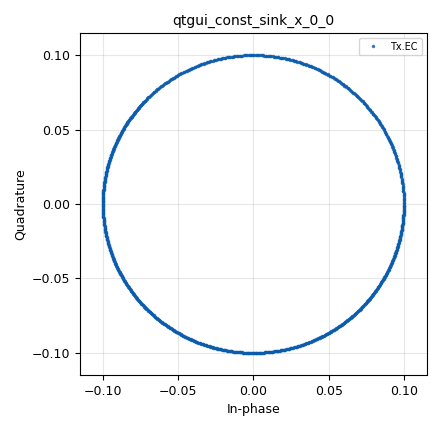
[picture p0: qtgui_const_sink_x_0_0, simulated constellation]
<?xml version='1.0' encoding='utf-8'?>
<?grc format='1' created='3.7.9'?>
<flow_graph>
<block>
<key>options</key>
<param><key>id</key><value>top_block</value></param>
<param><key>category</key><value>Custom</value></param>
<param><key>generate_options</key><value>qt_gui</value></param>
</block>
<block>
<key>variable_qtgui_range</key>
<param><key>id</key><value>Am</value></param>
<param><key>value</key><value>0.1</value></param>
<param><key>gui_hint</key><value>0,3</value></param>
<param><key>label</key><value>Am</value></param>
<param><key>orient</key><value>Qt.Horizontal</value></param>
<param><key>start</key><value>Amensaje_min</value></param>
<param><key>step</key><value>(Amensaje_max-Amensaje_min)/10000.</value></param>
<param><key>stop</key><value>Amensaje_max</value></param>
</block>
<block>
<key>variable</key>
<param><key>id</key><value>Amensaje_max</value></param>
<param><key>value</key><value>1.5</value></param>
</block>
<block>
<key>variable</key>
<param><key>id</key><value>Amensaje_min</value></param>
<param><key>value</key><value>0.</value></param>
</block>
<block>
<key>variable</key>
<param><key>id</key><value>B</value></param>
<param><key>value</key><value>samp_rate</value></param>
</block>
<block>
<key>variable</key>
<param><key>id</key><value>B_d</value></param>
<param><key>value</key><value>200e3</value></param>
</block>
<block>
<key>variable_qtgui_range</key>
<param><key>id</key><value>Fc</value></param>
<param><key>value</key><value>99.7e6</value></param>
<param><key>gui_hint</key><value>0,0</value></param>
<param><key>label</key><value>Fc</value></param>
<param><key>orient</key><value>Qt.Horizontal</value></param>
<param><key>start</key><value>Fc_min</value></param>
<param><key>step</key><value>(Fc_max-Fc_min)/100000.</value></param>
<param><key>stop</key><value>Fc_max</value></param>
</block>
<block>
<key>variable</key>
<param><key>id</key><value>Fc_max</value></param>
<param><key>value</key><value>2.4e9</value></param>
</block>
<block>
<key>variable</key>
<param><key>id</key><value>Fc_min</value></param>
<param><key>value</key><value>50e6</value></param>
</block>
<block>
<key>variable_qtgui_range</key>
<param><key>id</key><value>Gain_rx</value></param>
<param><key>value</key><value>0.</value></param>
<param><key>gui_hint</key><value>0,1</value></param>
<param><key>label</key><value>Gain_rx</value></param>
<param><key>orient</key><value>Qt.Horizontal</value></param>
<param><key>start</key><value>Gain_rx_min</value></param>
<param><key>step</key><value>(Gain_rx_max-Gain_rx_min)/100.</value></param>
<param><key>stop</key><value>Gain_rx_max</value></param>
</block>
<block>
<key>variable</key>
<param><key>id</key><value>Gain_rx_max</value></param>
<param><key>value</key><value>100</value></param>
</block>
<block>
<key>variable</key>
<param><key>id</key><value>Gain_rx_min</value></param>
<param><key>value</key><value>-20</value></param>
</block>
<block>
<key>variable_qtgui_range</key>
<param><key>id</key><value>Gain_tx</value></param>
<param><key>value</key><value>0</value></param>
<param><key>gui_hint</key><value>0,2</value></param>
<param><key>label</key><value>Gain_tx</value></param>
<param><key>orient</key><value>Qt.Horizontal</value></param>
<param><key>start</key><value>Gain_tx_min</value></param>
<param><key>step</key><value>(Gain_tx_max-Gain_tx_min)/100.</value></param>
<param><key>stop</key><value>Gain_tx_max</value></param>
</block>
<block>
<key>variable</key>
<param><key>id</key><value>Gain_tx_max</value></param>
<param><key>value</key><value>100</value></param>
</block>
<block>
<key>variable</key>
<param><key>id</key><value>Gain_tx_min</value></param>
<param><key>value</key><value>-20</value></param>
</block>
<block>
<key>variable</key>
<param><key>id</key><value>Kd</value></param>
<param><key>value</key><value>int(math.pow(2,int(math.log(Kd_d,2))))</value></param>
</block>
<block>
<key>variable</key>
<param><key>id</key><value>Kd_d</value></param>
<param><key>value</key><value>min(samp_rate_usrp/B_d, Kd_max)</value></param>
</block>
<block>
<key>variable</key>
<param><key>id</key><value>Kd_max</value></param>
<param><key>value</key><value>512</value></param>
</block>
<block>
<key>variable</key>
<param><key>id</key><value>samp_rate</value></param>
<param><key>value</key><value>samp_rate_usrp/Kd</value></param>
</block>
<block>
<key>variable</key>
<param><key>id</key><value>samp_rate_d</value></param>
<param><key>value</key><value>B_d</value></param>
</block>
<block>
<key>variable</key>
<param><key>id</key><value>samp_rate_usrp</value></param>
<param><key>value</key><value>100e6</value></param>
</block>
<block>
<key>analog_sig_source_x</key>
<param><key>id</key><value>analog_sig_source_x_0</value></param>
<param><key>amp</key><value>Am</value></param>
<param><key>freq</key><value>1000</value></param>
<param><key>offset</key><value>0</value></param>
<param><key>type</key><value>complex</value></param>
<param><key>samp_rate</key><value>samp_rate</value></param>
<param><key>waveform</key><value>analog.GR_COS_WAVE</value></param>
</block>
<block>
<key>import</key>
<param><key>id</key><value>import_0</value></param>
<param><key>import</key><value>import math</value></param>
</block>
<block>
<key>qtgui_tab_widget</key>
<param><key>id</key><value>menu</value></param>
<param><key>label0</key><value>TX.Envolvente Compleja Polar</value></param>
<param><key>label1</key><value>RX.Envolvente Compleja Polar</value></param>
<param><key>label2</key><value>RX.Envolvente Compleja tiempo</value></param>
<param><key>num_tabs</key><value>3</value></param>
</block>
<block>
<key>qtgui_const_sink_x</key>
<param><key>id</key><value>qtgui_const_sink_x_0</value></param>
<param><key>autoscale</key><value>True</value></param>
<param><key>gui_hint</key><value>menu@1:0,0</value></param>
<param><key>label1</key><value>Rx.EC</value></param>
<param><key>size</key><value>1024</value></param>
<param><key>type</key><value>complex</value></param>
<param><key>xmax</key><value>1.5</value></param>
<param><key>xmin</key><value>-1.5</value></param>
<param><key>ymax</key><value>1.5</value></param>
<param><key>ymin</key><value>-1.5</value></param>
</block>
<block>
<key>qtgui_const_sink_x</key>
<param><key>id</key><value>qtgui_const_sink_x_0_0</value></param>
<param><key>autoscale</key><value>True</value></param>
<param><key>gui_hint</key><value>menu@0:0,0</value></param>
<param><key>label1</key><value>Tx.EC</value></param>
<param><key>size</key><value>1024</value></param>
<param><key>type</key><value>complex</value></param>
<param><key>xmax</key><value>1.5</value></param>
<param><key>xmin</key><value>-1.5</value></param>
<param><key>ymax</key><value>1.5</value></param>
<param><key>ymin</key><value>-1.5</value></param>
</block>
<block>
<key>qtgui_time_sink_x</key>
<param><key>id</key><value>qtgui_time_sink_x_0</value></param>
<param><key>autoscale</key><value>True</value></param>
<param><key>gui_hint</key><value>menu@2:0,0</value></param>
<param><key>color1</key><value>"blue"</value></param>
<param><key>label1</key><value></value></param>
<param><key>color2</key><value>"red"</value></param>
<param><key>label2</key><value></value></param>
<param><key>size</key><value>1024</value></param>
<param><key>srate</key><value>samp_rate</value></param>
<param><key>type</key><value>complex</value></param>
</block>
<block>
<key>uhd_usrp_sink</key>
<param><key>id</key><value>uhd_usrp_sink_0</value></param>
<param><key>ant0</key><value>TX/RX</value></param>
<param><key>center_freq0</key><value>Fc</value></param>
<param><key>norm_gain0</key><value>False</value></param>
<param><key>gain0</key><value>Gain_tx</value></param>
<param><key>clock_rate</key><value>0.0</value></param>
<param><key>dev_args</key><value>""</value></param>
<param><key>type</key><value>fc32</value></param>
<param><key>samp_rate</key><value>samp_rate</value></param>
<param><key>hide_cmd_port</key><value>False</value></param>
<param><key>sync</key><value></value></param>
<param><key>len_tag_name</key><value></value></param>
</block>
<block>
<key>uhd_usrp_source</key>
<param><key>id</key><value>uhd_usrp_source_0</value></param>
<param><key>ant0</key><value>RX2</value></param>
<param><key>center_freq0</key><value>Fc</value></param>
<param><key>dc_offs_enb0</key><value>""</value></param>
<param><key>iq_imbal_enb0</key><value>""</value></param>
<param><key>norm_gain0</key><value>False</value></param>
<param><key>gain0</key><value>Gain_rx</value></param>
<param><key>clock_rate</key><value>0.0</value></param>
<param><key>dev_addr</key><value></value></param>
<param><key>dev_args</key><value>""</value></param>
<param><key>type</key><value>fc32</value></param>
<param><key>samp_rate</key><value>samp_rate</value></param>
<param><key>hide_cmd_port</key><value>False</value></param>
<param><key>sync</key><value></value></param>
</block>
<block>
<key>virtual_sink</key>
<param><key>id</key><value>virtual_sink_0</value></param>
<param><key>stream_id</key><value>r1</value></param>
</block>
<block>
<key>virtual_sink</key>
<param><key>id</key><value>virtual_sink_0_0</value></param>
<param><key>stream_id</key><value>t1</value></param>
</block>
<block>
<key>virtual_source</key>
<param><key>id</key><value>virtual_source_0</value></param>
<param><key>stream_id</key><value>t1</value></param>
</block>
<block>
<key>virtual_source</key>
<param><key>id</key><value>virtual_source_0_0_0_0</value></param>
<param><key>stream_id</key><value>r1</value></param>
</block>
<connection><source_block_id>analog_sig_source_x_0</source_block_id><sink_block_id>uhd_usrp_sink_0</sink_block_id><source_key>0</source_key><sink_key>0</sink_key></connection>
<connection><source_block_id>analog_sig_source_x_0</source_block_id><sink_block_id>virtual_sink_0_0</sink_block_id><source_key>0</source_key><sink_key>0</sink_key></connection>
<connection><source_block_id>uhd_usrp_source_0</source_block_id><sink_block_id>virtual_sink_0</sink_block_id><source_key>0</source_key><sink_key>0</sink_key></connection>
<connection><source_block_id>virtual_source_0</source_block_id><sink_block_id>qtgui_const_sink_x_0_0</sink_block_id><source_key>0</source_key><sink_key>0</sink_key></connection>
<connection><source_block_id>virtual_source_0_0_0_0</source_block_id><sink_block_id>qtgui_const_sink_x_0</sink_block_id><source_key>0</source_key><sink_key>0</sink_key></connection>
<connection><source_block_id>virtual_source_0_0_0_0</source_block_id><sink_block_id>qtgui_time_sink_x_0</sink_block_id><source_key>0</source_key><sink_key>0</sink_key></connection>
</flow_graph>
